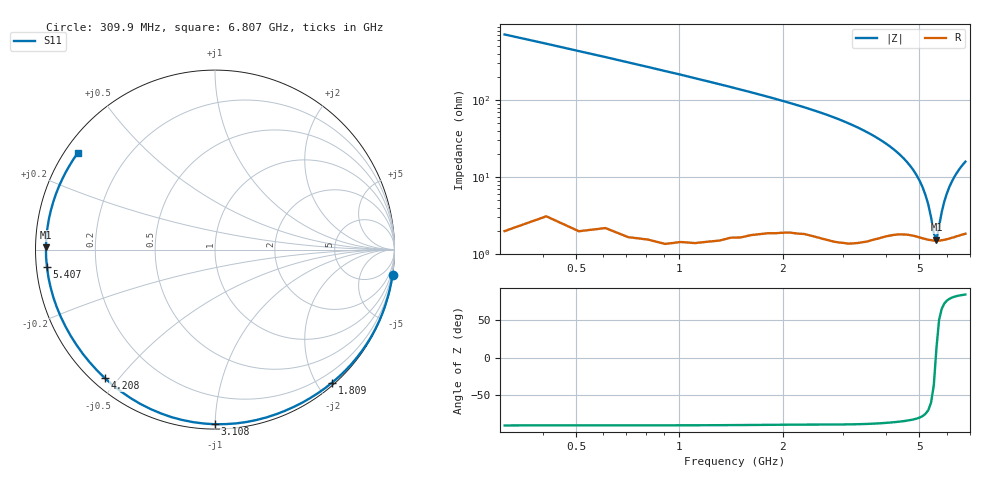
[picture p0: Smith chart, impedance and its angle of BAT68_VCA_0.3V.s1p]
! Infineon Technologies  Discrete & RF Semiconductors
! BAT68
! VCA = 0.3 V
! One-Port S-Parameters
# Hz  S  MA  R  50
!f  S11
!Hz  Mag  Ang
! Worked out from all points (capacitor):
!   66 points, 309.9 MHz to 6.807 GHz, reference 50 ohm
!   read as one part to ground: C = 714 fF near 309.9 MHz
!   lowest |Z| = 1.54 ohm at 5.607 GHz (marker M1)
!   series resonance near 5.583 GHz, so ESL is about 1.1 nH
!   S11 on the Smith chart (normalised r, x): 309.9 MHz: 0, -14; 1.809 GHz: 0.04, -2.21; 3.108 GHz: 0.03, -1.00; 4.208 GHz: 0.04, -0.46; 5.407 GHz: 0.03, -0.05; 6.807 GHz: 0.04, +0.32
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3.0985e8  0.9996 -8.0
5.0975e8  0.999 -13.2
8.096e8  0.998 -21.0
1.0095e9  0.997 -26.3
1.2094e9  0.9957 -31.8
1.50925e9  0.9923 -40.1
1.8091e9  0.9874 -48.6
2.009e9  0.9842 -54.5
2.4088e9  0.9792 -66.6
2.6087e9  0.9778 -73.0
2.8086e9  0.9764 -79.6
3.10845e9  0.973 -90.0
3.30835e9  0.9691 -97.2
3.50825e9  0.9643 -104.6
3.6082e9  0.9612 -108.3
3.90805e9  0.9518 -119.5
4.2079e9  0.9429 -130.7
4.4078e9  0.9389 -138.2
4.6077e9  0.9368 -145.5
4.8076e9  0.9367 -152.8
5.0075e9  0.9381 -160.0
5.2074e9  0.9398 -167.1
5.4073e9  0.9411 -174.1
5.6072e9  0.9419 179.2
5.8071e9  0.9415 172.8
6.007e9  0.9403 166.6
6.4068e9  0.9372 155.2
6.8066e9  0.9353 144.9
